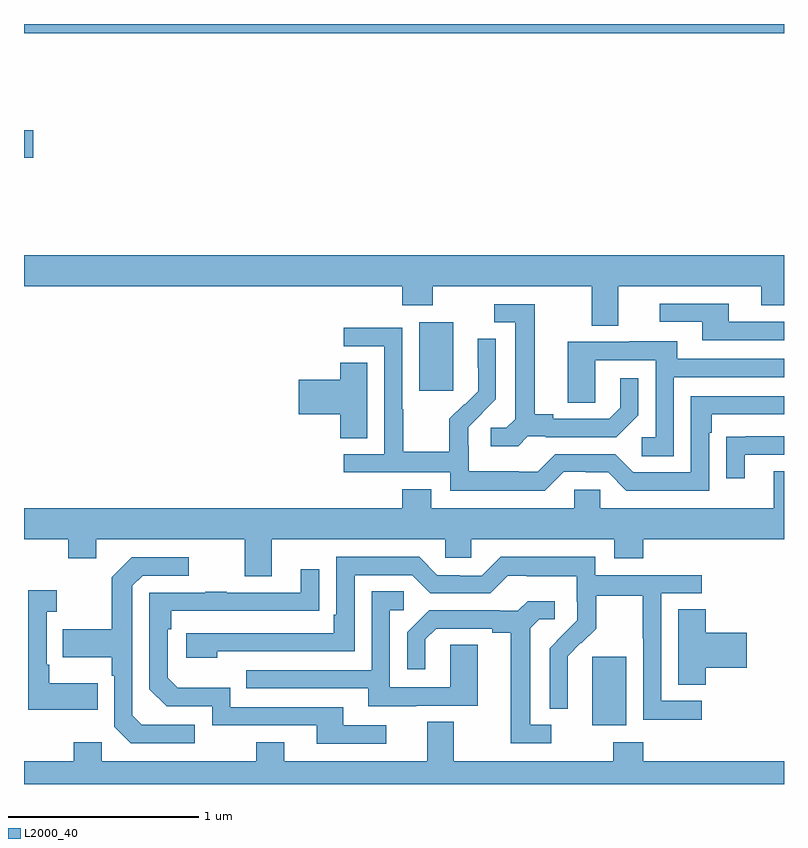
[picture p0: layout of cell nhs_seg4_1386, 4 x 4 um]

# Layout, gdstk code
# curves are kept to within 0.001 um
import gdstk
lib = gdstk.Library(unit=1e-6, precision=1e-09)
def R(c, l, rs):  # rectangles x0, y0, x1, y1
    for r in rs: c.add(gdstk.rectangle(r[:2], r[2:], *l))
def P(c, l, *ps):  # polygons
    for p in ps: c.add(gdstk.Polygon(p, *l))
L2000_40 = (2000, 40)

nhs_seg4_1386 = lib.new_cell('nhs_seg4_1386')
R(nhs_seg4_1386, L2000_40, [(185.99,761.21,186.169,761.571), (185.081,762.969,185.26,763.33), (183,764.195,183.049,764.342), (183,764.852,187,764.9)])
P(nhs_seg4_1386, L2000_40, [(186.127,763.52),(186.881,763.52),(186.881,763.421),(187,763.421),(187,763.684),(183,763.684),(183,763.52),(184.991,763.52),(184.991,763.421),(185.151,763.421),(185.151,763.52),(185.987,763.52),(185.987,763.312),(186.127,763.312)],
  [(187,763.332),(186.709,763.332),(186.709,763.428),(186.345,763.428),(186.345,763.332),(186.569,763.332),(186.569,763.236),(187,763.236)],
  [(185.652,762.729),(185.746,762.729),(185.746,762.726),(186.118,762.726),(186.234,762.842),(186.234,763.036),(186.137,763.036),(186.137,762.879),(186.08,762.822),(185.785,762.822),(185.785,762.845),(185.689,762.845),(185.689,763.425),(185.475,763.425),(185.475,763.329),(185.585,763.329),(185.585,762.821),(185.538,762.774),(185.457,762.774),(185.457,762.677),(185.6,762.677)],
  [(185.841,762.543),(185.957,762.543),(185.957,762.54),(186.075,762.54),(186.171,762.444),(186.606,762.444),(186.606,762.749),(186.619,762.749),(186.619,762.846),(187,762.846),(187,762.942),(186.51,762.942),(186.51,762.54),(186.207,762.54),(186.111,762.636),(185.796,762.636),(185.703,762.543),(185.603,762.543),(185.603,762.547),(185.34,762.547),(185.34,762.681),(185.338,762.681),(185.338,762.778),(185.484,762.926),(185.484,763.244),(185.388,763.244),(185.388,763.09),(185.39,763.09),(185.39,762.968),(185.319,762.897),(185.316,762.9),(185.239,762.823),(185.239,762.649),(184.995,762.649),(184.995,762.872),(184.992,762.872),(184.992,763.302),(184.683,763.302),(184.683,763.203),(184.896,763.203),(184.896,762.636),(184.683,762.636),(184.683,762.54),(185.244,762.54),(185.244,762.443),(185.741,762.443)],
  [(186.42,763.041),(187,763.041),(187,763.137),(186.439,763.137),(186.439,763.231),(186.185,763.231),(186.185,763.227),(185.861,763.227),(185.861,762.907),(186.006,762.907),(186.006,763.131),(186.324,763.131),(186.324,762.726),(186.252,762.726),(186.252,762.625),(186.42,762.625)],
  [(184.807,763.118),(184.664,763.118),(184.664,763.028),(184.446,763.028),(184.446,762.845),(184.664,762.845),(184.664,762.721),(184.807,762.721)],
  [(186.793,762.633),(187,762.633),(187,762.729),(186.799,762.729),(186.799,762.728),(186.697,762.728),(186.697,762.51),(186.793,762.51)],
  [(183,762.188),(183.232,762.188),(183.232,762.089),(183.379,762.089),(183.379,762.188),(184.163,762.188),(184.163,761.994),(184.303,761.994),(184.303,762.188),(185.217,762.188),(185.217,762.09),(185.355,762.09),(185.355,762.188),(186.107,762.188),(186.107,762.089),(186.26,762.089),(186.26,762.188),(187,762.188),(187,762.547),(186.947,762.547),(186.947,762.352),(186.033,762.352),(186.033,762.45),(185.895,762.45),(185.895,762.352),(185.143,762.352),(185.143,762.451),(184.991,762.451),(184.991,762.352),(183,762.352)],
  [(186.568,761.337),(186.354,761.337),(186.354,761.904),(186.568,761.904),(186.568,762),(186.006,762),(186.006,762.097),(185.509,762.097),(185.409,761.997),(185.294,761.997),(185.294,762),(185.175,762),(185.079,762.096),(184.644,762.096),(184.644,761.791),(184.631,761.791),(184.631,761.694),(183.855,761.694),(183.855,761.564),(184.016,761.564),(184.016,761.598),(184.74,761.598),(184.74,762),(185.043,762),(185.139,761.904),(185.454,761.904),(185.547,761.997),(185.647,761.997),(185.647,761.993),(185.91,761.993),(185.91,761.859),(185.912,761.859),(185.912,761.762),(185.766,761.614),(185.766,761.296),(185.862,761.296),(185.861,761.573),(185.931,761.643),(185.934,761.64),(186.011,761.717),(186.011,761.892),(186.256,761.892),(186.256,761.668),(186.258,761.668),(186.258,761.239),(186.568,761.239)],
  [(183.898,761.211),(183.621,761.211),(183.57,761.262),(183.57,761.943),(183.624,761.997),(183.868,761.997),(183.868,762.093),(183.567,762.093),(183.462,761.987),(183.462,761.715),(183.205,761.715),(183.205,761.567),(183.462,761.567),(183.462,761.471),(183.474,761.471),(183.474,761.202),(183.561,761.115),(183.898,761.115)],
  [(184.906,761.208),(184.681,761.208),(184.681,761.304),(184.086,761.304),(184.086,761.407),(183.809,761.407),(183.756,761.46),(183.756,761.714),(183.776,761.714),(183.776,761.811),(184.553,761.812),(184.553,762.031),(184.457,762.031),(184.457,761.907),(184.067,761.907),(184.067,761.912),(183.955,761.912),(183.955,761.907),(183.66,761.907),(183.66,761.4),(183.75,761.31),(183.99,761.31),(183.99,761.208),(184.541,761.208),(184.541,761.112),(184.906,761.112)],
  [(183.389,761.431),(183.133,761.431),(183.133,761.527),(183.12,761.527),(183.12,761.807),(183.172,761.807),(183.172,761.92),(183.023,761.92),(183.023,761.291),(183.389,761.291)],
  [(185.065,761.313),(185.389,761.313),(185.389,761.633),(185.244,761.633),(185.244,761.409),(184.926,761.409),(184.926,761.814),(184.999,761.814),(184.999,761.915),(184.83,761.915),(184.83,761.499),(184.171,761.499),(184.171,761.403),(184.811,761.403),(184.811,761.309),(185.065,761.309)],
  [(185.776,761.211),(185.665,761.211),(185.665,761.719),(185.712,761.766),(185.794,761.766),(185.794,761.863),(185.65,761.863),(185.598,761.811),(185.504,761.811),(185.504,761.814),(185.132,761.814),(185.016,761.698),(185.016,761.505),(185.113,761.505),(185.113,761.661),(185.17,761.718),(185.465,761.718),(185.465,761.696),(185.561,761.696),(185.561,761.115),(185.776,761.115)],
  [(186.587,761.513),(186.805,761.513),(186.805,761.696),(186.587,761.696),(186.587,761.819),(186.443,761.819),(186.443,761.422),(186.587,761.422)],
  [(187,761.02),(186.26,761.02),(186.26,761.119),(186.1,761.119),(186.1,761.02),(185.263,761.02),(185.263,761.228),(185.123,761.228),(185.123,761.02),(184.369,761.02),(184.369,761.119),(184.222,761.119),(184.222,761.02),(183.408,761.02),(183.408,761.119),(183.262,761.119),(183.262,761.02),(183,761.02),(183,760.9),(187,760.9)])

lib.write_gds('nhs_seg4_1386.gds')
